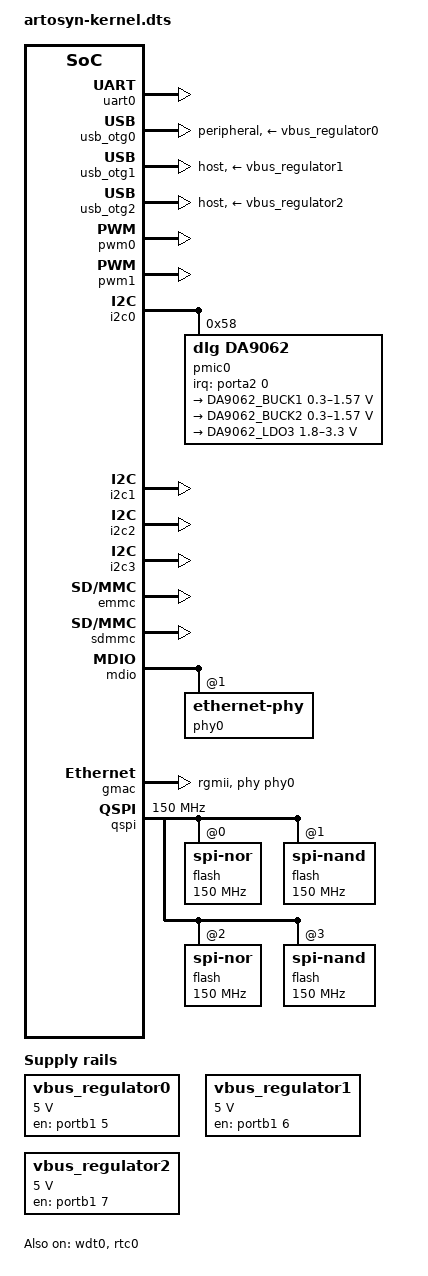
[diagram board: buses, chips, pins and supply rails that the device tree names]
/*
 * Copyright 2015 Artosyn Co., Ltd.
 *
 * This file is dual-licensed: you can use it either under the terms
 * of the GPL or the X11 license, at your option. Note that this dual
 * licensing only applies to this file, and not this project as a
 * whole.
 *
 *  a) This file is free software; you can redistribute it and/or
 *     modify it under the terms of the GNU General Public License as
 *     published by the Free Software Foundation; either version 2 of the
 *     License, or (at your option) any later version.
 *
 *     This file is distributed in the hope that it will be useful,
 *     but WITHOUT ANY WARRANTY; without even the implied warranty of
 *     MERCHANTABILITY or FITNESS FOR A PARTICULAR PURPOSE.  See the
 *     GNU General Public License for more details.
 *
 * Or, alternatively,
 *
 *  b) Permission is hereby granted, free of charge, to any person
 *     obtaining a copy of this software and associated documentation
 *     files (the "Software"), to deal in the Software without
 *     restriction, including without limitation the rights to use,
 *     copy, modify, merge, publish, distribute, sublicense, and/or
 *     sell copies of the Software, and to permit persons to whom the
 *     Software is furnished to do so, subject to the following
 *     conditions:
 *
 *     The above copyright notice and this permission notice shall be
 *     included in all copies or substantial portions of the Software.
 *
 *     THE SOFTWARE IS PROVIDED "AS IS", WITHOUT WARRANTY OF ANY KIND,
 *     EXPRESS OR IMPLIED, INCLUDING BUT NOT LIMITED TO THE WARRANTIES
 *     OF MERCHANTABILITY, FITNESS FOR A PARTICULAR PURPOSE AND
 *     NONINFRINGEMENT. IN NO EVENT SHALL THE AUTHORS OR COPYRIGHT
 *     HOLDERS BE LIABLE FOR ANY CLAIM, DAMAGES OR OTHER LIABILITY,
 *     WHETHER IN AN ACTION OF CONTRACT, TORT OR OTHERWISE, ARISING
 *     OTHER DEALINGS IN THE SOFTWARE.
 */

/dts-v1/;
#include "../../common/artosyn-kernel.dtsi"
#include "artosyn-memory.dtsi"


&uart0 {
	status = "okay";
};

&dw_ceva_dmac {
	status = "disabled";
};

&can0 {
	status = "disabled";
};

&can1 {
	status = "disabled";
};

&can2 {
	status = "disabled";
};

&can3 {
	status = "disabled";
};

&vbus_regulator0 {
	compatible = "regulator-fixed";
	regulator-name = "usb_otg0_vbus";
	regulator-min-microvolt = <5000000>;
	regulator-max-microvolt = <5000000>;
	gpio = <&portb1 5 GPIO_ACTIVE_HIGH>;
	enable-active-high;
};

&vbus_regulator1 {
	compatible = "regulator-fixed";
	regulator-name = "usb_otg1_vbus";
	regulator-min-microvolt = <5000000>;
	regulator-max-microvolt = <5000000>;
	gpio = <&portb1 6 GPIO_ACTIVE_HIGH>;
	enable-active-high;
};

&vbus_regulator2 {
	compatible = "regulator-fixed";
	regulator-name = "usb_otg2_vbus";
	regulator-min-microvolt = <5000000>;
	regulator-max-microvolt = <5000000>;
	gpio = <&portb1 7 GPIO_ACTIVE_HIGH>;
	enable-active-high;
};

&usb_otg0 {
	dr_mode = "peripheral";
	vbus-supply = <&vbus_regulator0>;
	status = "okay";
};

&usb_otg1 {
	dr_mode = "host";
	vbus-supply = <&vbus_regulator1>;
	status = "okay";
};

&usb_otg2 {
	dr_mode = "host";
	vbus-supply = <&vbus_regulator2>;
	status = "okay";
};

&wdt0 {
	status = "okay";
};

&rtc0 {
	status = "okay";
};

&pwm0 {
	status = "okay";
};

&pwm1 {
	status = "okay";
};

&tzc {
	status = "disabled";
};

&i2c0 {
	status = "okay";

	pmic0: da9062@58 {
		status = "okay";
		compatible = "dlg,da9062";
		reg = <0x58>;
		interrupt-parent = <&porta2>;
		interrupts = <0 IRQ_TYPE_LEVEL_LOW>;
		interrupt-controller;
		//gpios = <&portc1 6 GPIO_ACTIVE_LOW>;

		rtc {
			compatible = "dlg,da9062-rtc";
		};

		watchdog {
			compatible = "dlg,da9062-watchdog";
		};

		thermal {
			compatible = "dlg,da9062-thermal";
			polling-delay-passive = <3000>;
		};

		regulators {
			DA9062_BUCK1: buck1 {
				regulator-name = "BUCK1";
				regulator-min-microvolt = <300000>;
				regulator-max-microvolt = <1570000>;
				regulator-min-microamp = <500000>;
				regulator-max-microamp = <2000000>;
				regulator-boot-on;
			};
			DA9062_BUCK2: buck2 {
				regulator-name = "BUCK2";
				regulator-min-microvolt = <300000>;
				regulator-max-microvolt = <1570000>;
				regulator-min-microamp = <500000>;
				regulator-max-microamp = <2000000>;
				regulator-boot-on;
			};
			DA9062_LDO3: ldo3 {
				regulator-name = "LDO_3";
				regulator-min-microvolt = <1800000>;
				regulator-max-microvolt = <3300000>;
				regulator-boot-on;
			};
		};
	};
};

&i2c1 {
	status = "okay";
};

&i2c2 {
	status = "okay";
};

&i2c3 {
	status = "okay";
};

&i2c4 {
	status = "disabled";
};


&emmc {
	status = "okay";
};

&sdmmc {
	clock-frequency = <100000000>;
	clock-freq-min-max = <400000 100000000>;
	vqmmc-supply = <&DA9062_LDO3>;
	status = "okay";
};

&mdio {
	status = "okay";

	phy0: ethernet-phy@1 {
		status = "okay";
	};
};

&gmac {
	mac-address = [00 00 01 02 03 04]; /*This should not be here if uboot has set mac already*/
	phy-mode = "rgmii";
	phy-handle = <&phy0>;
	tzc-handle = <&tzc>;
	tx-fifo-depth = <3>;
	tx-fifo-depth-1000 = <2>;
	tx-bd-num = <64>; /*total 128 bds, rx-bd-num = 128 - tx-bd-num*/
	tx-enhance;
	rx-enhance;
	status = "okay";
};

&qspi {
	clock-frequency = <150000000>;
	dma-channel = <0>;
	timing-cfg = <0>;
	status = "okay";

	flash@0 {
		#address-cells = <1>;
		#size-cells = <1>;
		compatible = "jedec,spi-nor";
		reg = <SPI_NOR_CS0>;
		spi-max-frequency = <150000000>;
	};
	flash@1 {
		#address-cells = <1>;
		#size-cells = <1>;
		compatible = "spi-nand";
		reg = <SPI_NAND_CS0>;
		spi-max-frequency = <150000000>;
	};
	flash@2 {
		#address-cells = <1>;
		#size-cells = <1>;
		compatible = "jedec,spi-nor";
		reg = <SPI_NOR_CS1>;
		spi-max-frequency = <150000000>;
	};
	flash@3 {
		#address-cells = <1>;
		#size-cells = <1>;
		compatible = "spi-nand";
		reg = <SPI_NAND_CS1>;
		spi-max-frequency = <150000000>;
	};
};
